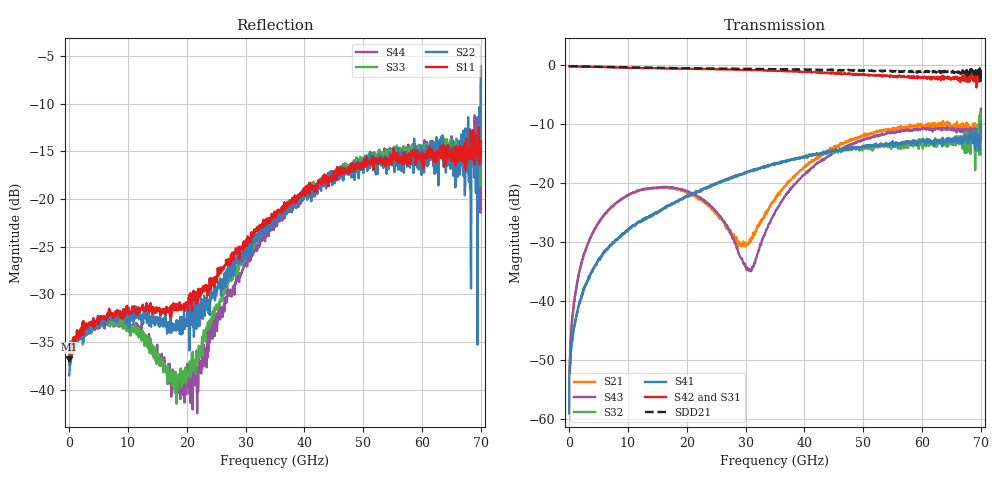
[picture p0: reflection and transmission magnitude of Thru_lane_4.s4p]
! 4/13/2026 10:47:08 AM
! C:\ANRITSUVNA\DATA\SARA\2026-04-13 T5 MZDRV\DEEMB STRUCTURES\THRU_3.S4P
! CHANNEL.1
! TR.MEASUREMENT
! CORRECTED.DATA
! RF.CORRECTION: FULL.FOUR.PORT.CAL.PORT.1.2.3.4
! AVERAGING.OFF
! IF.BANDWIDTH: 1KHZ
! SWEEPTYPE:  FREQ.SWEEP(Linear)
! Reference Plane Port Info
! PORT:  PORT1  PORT2  PORT3  PORT4
! DISTANCE:  0  m  0  m  0  m  0  m
! TIME:  0  s  0  s  0  s  0  s
! PHASE.OFFSET:  0 °  0 °  0 °  0 °
! LOSS:  0  dB  0  dB  0  dB  0  dB
! REF.LOSS:  0  dB  0  dB  0  dB  0  dB
! REF.FREQ:  0  Hz  0  Hz  0  Hz  0  Hz
! Power Info
! POWER:  -20  dBm  -20  dBm  -20  dBm  -20  dBm
! EFF.POWER:  -20  dBm  -20  dBm  -20  dBm  -20  dBm
! SOURCE.ATTEN:  0  dB  0  dB  0  dB  0  dB
! TEST.ATTEN:  0  dB  0  dB  0  dB  0  dB
# HZ S DB R 50.0
! FREQ.HZ  S11DB  S11A  S12DB  S12A  S13DB  S13A  S14DB  S14A
!  S21DB  S21A  S22DB  S22A  S23DB  S23A  S24DB  S24A
!  S31DB  S31A  S32DB  S32A  S33DB  S33A  S34DB  S34A
!  S41DB  S41A  S42DB  S42A  S43DB  S43A  S44DB  S44A
!; PortSelection: Port_1234
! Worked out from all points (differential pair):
!   1001 points, 10 MHz to 70 GHz, reference 50 ohm
!   strongest paths, dB at 10 MHz, 17.51 GHz, 35.01 GHz, 52.5 GHz, 70 GHz:
!     S42: -0.1, -0.5, -0.9, -1.6, -1.5
!     S31: -0.1, -0.5, -0.9, -1.7, -3.1
!     S41: -59.1, -23.4, -16.7, -13.7, -10.0
!     S32: -59.1, -23.6, -16.8, -13.9, -11.5
!     S43: -57.6, -20.7, -24.9, -11.9, -7.4
!     S21: -57.3, -20.9, -22.6, -11.1, -15.0
!   taken as a pair (ports 2,1 in; 4,3 out), SDD21 dB: -0.1, -0.4, -0.6, -0.9, -0.5
!   lowest |S11| = -36.8 dB at 10 MHz (marker M1), VSWR 1.03, Z = 51.5 + j0.03 ohm
!   |S11| at or under -10 dB: start of sweep to end of sweep
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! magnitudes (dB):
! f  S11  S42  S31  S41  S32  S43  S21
! 10 MHz  -36.8  -0.1  -0.1  -59.1  -59.1  -57.6  -57.3
! 2.53 GHz  -33.5  -0.2  -0.2  -37.7  -38.1  -32.0  -32.1
! 9.809 GHz  -31.2  -0.4  -0.4  -28.3  -28.2  -22.1  -22.2
! 20.66 GHz  -29.9  -0.6  -0.6  -22.0  -21.8  -21.6  -21.8
! 30.67 GHz  -24.4  -0.8  -0.8  -18.1  -17.9  -34.6  -30.2
! 42.42 GHz  -18.2  -1.3  -1.2  -15.1  -15.1  -16.5  -15.6
! 70 GHz  -14.0  -1.5  -3.1  -10.0  -11.5  -7.4  -15.0
